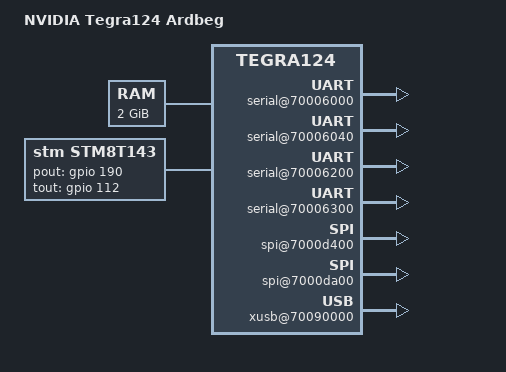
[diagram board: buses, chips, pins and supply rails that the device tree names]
/dts-v1/;

#include "tegra124-soc-shield.dtsi"
#include "tegra124-platforms/tegra124-tn8-dfll.dtsi"
#include "tegra124-platforms/tegra124-ardbeg-powermon-e1780-1000-a00.dtsi"
#include "tegra124-platforms/tegra124-1791-power-tree-e1736-1000-a00.dtsi"
#include "tegra124-platforms/tegra124-e1791-emc.dtsi"
#include "tegra124-platforms/tegra124-tn8-gpio-e1780-1100-a02.dtsi"
#include "tegra124-platforms/tegra124-tn8-pinmux-e1780-1100-a02.dtsi"
#include "tegra124-platforms/tegra124-tn8-keys-e1780-1100-a02.dtsi"
#include "tegra124-platforms/tegra124-tn8-thermal-zone-e1736-1000-a00.dtsi"

/ {
	model = "NVIDIA Tegra124 Ardbeg";
	compatible = "nvidia,ardbeg", "nvidia,tegra124";
	nvidia,dtsfilename = __FILE__;
	#address-cells = <2>;
	#size-cells = <2>;

	chosen {
		bootargs = "tegraid=40.0.0.00.00 vmalloc=256M video=tegrafb console=ttyS0,115200n8 earlyprintk";
		linux,initrd-start = <0x85000000>;
		linux,initrd-end = <0x851bc400>;
	};

	firmware {
		android {
			compatible = "android,firmware";
			hardware = "ardbeg";
		};
	};

        serial@70006000 {
                compatible = "nvidia,tegra114-hsuart";
                status = "okay";
        };

        serial@70006040 {
                compatible = "nvidia,tegra114-hsuart";
                status = "okay";
        };

        serial@70006200 {
                compatible = "nvidia,tegra114-hsuart";
                status = "okay";
        };

        serial@70006300 {
                compatible = "nvidia,tegra20-uart", "nvidia,tegra114-hsuart";
		console-port;
		sqa-automation-port;
		status = "okay";
        };

	memory@0x80000000 {
		device_type = "memory";
		reg = <0x0 0x80000000 0x0 0x80000000>;
	};

	i2c@7000d000 {
		nvidia,bit-banging-xfer-after-shutdown;

		tps65913 {
			extcon {
				extcon-name = "palmas-extcon";
			};
		};
	};

	spi@7000d400 {
		status = "okay";
		spi-max-frequency = <25000000>;
	};

	spi@7000da00 {
		status = "okay";
		spi-max-frequency = <25000000>;
	};

	pmc@7000e400 {
		status = "okay";
		nvidia,invert-interrupt;
		nvidia,suspend-mode = <0>;
		nvidia,cpu-pwr-good-time = <500>;
		nvidia,cpu-pwr-off-time = <300>;
		nvidia,core-pwr-good-time = <3845 3845>;
		nvidia,core-pwr-off-time = <2000>;
		nvidia,core-power-req-active-high;
		nvidia,sys-clock-req-active-high;
	};

	stm8t143 {
		compatible = "stm,stm8t143";
		pout-gpio = <&gpio 190 0>;
		tout-gpio = <&gpio 112 0>;
	};

	xusb@70090000 {
		/* nvidia,uses_external_pmic;
		nvidia,gpio_controls_muxed_ss_lanes; */
		nvidia,gpio_ss1_sata = <0>;
		nvidia,portmap = <0x703>; /* SSP0, SSP1 USB2P0, USB2P1, USBP2 */
		nvidia,ss_portmap = <0x20>; /* SSP0 on USB2P0, SSP1 on USB2P2 */
		nvidia,lane_owner = <6>; /* USB3P0 USB3P1 */
		nvidia,ulpicap = <0>; /* No ulpi support. can we remove */
		status = "okay";
	};

	psy_extcon {
		compatible = "power-supply-extcon";
		power-supply,extcon-dev = "tegra-udc";
	};
};
